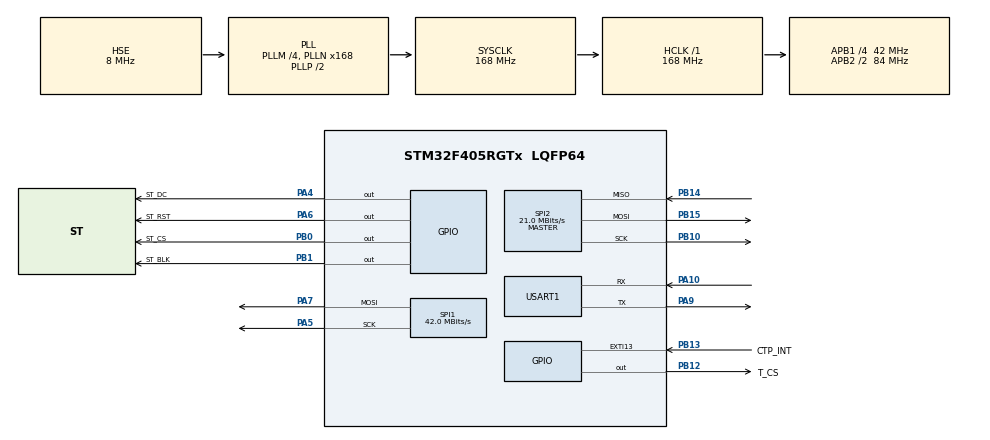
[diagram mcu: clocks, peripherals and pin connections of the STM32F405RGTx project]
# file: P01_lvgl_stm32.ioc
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Dma.Request0=SPI1_TX
Dma.Request1=SPI2_TX
Dma.SPI1_TX.0.Direction=DMA_MEMORY_TO_PERIPH
Dma.SPI1_TX.0.FIFOMode=DMA_FIFOMODE_DISABLE
Dma.SPI1_TX.0.Instance=DMA2_Stream5
Dma.SPI1_TX.0.MemDataAlignment=DMA_MDATAALIGN_HALFWORD
Dma.SPI1_TX.0.MemInc=DMA_MINC_ENABLE
Dma.SPI1_TX.0.Mode=DMA_NORMAL
Dma.SPI1_TX.0.PeriphDataAlignment=DMA_PDATAALIGN_HALFWORD
Dma.SPI1_TX.0.PeriphInc=DMA_PINC_DISABLE
Dma.SPI1_TX.0.Priority=DMA_PRIORITY_LOW
Dma.SPI2_TX.1.Direction=DMA_MEMORY_TO_PERIPH
Dma.SPI2_TX.1.FIFOMode=DMA_FIFOMODE_DISABLE
Dma.SPI2_TX.1.Instance=DMA1_Stream4
Dma.SPI2_TX.1.MemDataAlignment=DMA_MDATAALIGN_HALFWORD
Dma.SPI2_TX.1.MemInc=DMA_MINC_ENABLE
Dma.SPI2_TX.1.Mode=DMA_NORMAL
Dma.SPI2_TX.1.PeriphDataAlignment=DMA_PDATAALIGN_HALFWORD
Dma.SPI2_TX.1.PeriphInc=DMA_PINC_DISABLE
Dma.SPI2_TX.1.Priority=DMA_PRIORITY_LOW
Mcu.Family=STM32F4
Mcu.Name=STM32F405RGTx
Mcu.Package=LQFP64
NVIC.DMA1_Stream4_IRQn=true\:0\:0\:false\:false\:true\:false\:true\:true
NVIC.DMA2_Stream5_IRQn=true\:0\:0\:false\:false\:true\:false\:true\:true
NVIC.EXTI15_10_IRQn=true\:5\:0\:true\:false\:true\:true\:true\:true
NVIC.PriorityGroup=NVIC_PRIORITYGROUP_4
NVIC.USART1_IRQn=true\:5\:0\:true\:false\:true\:true\:true\:true
PA10.Mode=Asynchronous
PA10.Signal=USART1_RX
PA13.Mode=Serial_Wire
PA13.Signal=SYS_JTMS-SWDIO
PA14.Mode=Serial_Wire
PA14.Signal=SYS_JTCK-SWCLK
PA4.GPIO_Label=ST_DC
PA4.GPIO_Speed=GPIO_SPEED_FREQ_MEDIUM
PA4.Signal=GPIO_Output
PA5.Mode=TX_Only_Simplex_Unidirect_Master
PA5.Signal=SPI1_SCK
PA6.GPIO_Label=ST_RST
PA6.GPIO_Speed=GPIO_SPEED_FREQ_MEDIUM
PA6.PinState=GPIO_PIN_SET
PA6.Signal=GPIO_Output
PA7.Mode=TX_Only_Simplex_Unidirect_Master
PA7.Signal=SPI1_MOSI
PA9.Mode=Asynchronous
PA9.Signal=USART1_TX
PB0.GPIO_Label=ST_CS
PB0.GPIO_Speed=GPIO_SPEED_FREQ_MEDIUM
PB0.PinState=GPIO_PIN_SET
PB0.Signal=GPIO_Output
PB1.GPIO_Label=ST_BLK
PB1.GPIO_PuPd=GPIO_PULLUP
PB1.GPIO_Speed=GPIO_SPEED_FREQ_MEDIUM
PB1.Signal=GPIO_Output
PB10.Mode=Full_Duplex_Master
PB10.Signal=SPI2_SCK
PB12.GPIO_Label=T_CS
PB12.GPIO_PuPd=GPIO_PULLUP
PB12.Signal=GPIO_Output
PB13.GPIO_Label=CTP_INT
PB13.GPIO_ModeDefaultEXTI=GPIO_MODE_IT_FALLING
PB13.GPIO_PuPd=GPIO_PULLUP
PB13.Signal=GPXTI13
PB14.Mode=Full_Duplex_Master
PB14.Signal=SPI2_MISO
PB15.Mode=Full_Duplex_Master
PB15.Signal=SPI2_MOSI
PC14-OSC32_IN.Mode=LSE-External-Oscillator
PC14-OSC32_IN.Signal=RCC_OSC32_IN
PC15-OSC32_OUT.Mode=LSE-External-Oscillator
PC15-OSC32_OUT.Signal=RCC_OSC32_OUT
PH0-OSC_IN.Mode=HSE-External-Oscillator
PH0-OSC_IN.Signal=RCC_OSC_IN
PH1-OSC_OUT.Mode=HSE-External-Oscillator
PH1-OSC_OUT.Signal=RCC_OSC_OUT
ProjectManager.HeapSize=0x4000
ProjectManager.StackSize=0x2000
ProjectManager.TargetToolchain=MDK-ARM V5.32
RCC.48MHZClocksFreq_Value=84000000
RCC.AHBFreq_Value=168000000
RCC.APB1CLKDivider=RCC_HCLK_DIV4
RCC.APB1Freq_Value=42000000
RCC.APB1TimFreq_Value=84000000
RCC.APB2CLKDivider=RCC_HCLK_DIV2
RCC.APB2Freq_Value=84000000
RCC.APB2TimFreq_Value=168000000
RCC.CortexFreq_Value=168000000
RCC.HCLKFreq_Value=168000000
RCC.HSE_VALUE=8000000
RCC.HSI_VALUE=16000000
RCC.PLLM=4
RCC.PLLN=168
RCC.PLLSourceVirtual=RCC_PLLSOURCE_HSE
RCC.SYSCLKFreq_VALUE=168000000
RCC.SYSCLKSource=RCC_SYSCLKSOURCE_PLLCLK
RCC.VCOOutputFreq_Value=336000000
SPI1.CalculateBaudRate=42.0 MBits/s
SPI1.Direction=SPI_DIRECTION_2LINES
SPI1.Mode=SPI_MODE_MASTER
SPI1.VirtualType=VM_MASTER
SPI2.CalculateBaudRate=21.0 MBits/s
SPI2.Direction=SPI_DIRECTION_2LINES
SPI2.Mode=SPI_MODE_MASTER
SPI2.VirtualType=VM_MASTER
USART1.VirtualMode=VM_ASYNC
board=custom

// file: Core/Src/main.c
/* USER CODE BEGIN Header */
/**
 ******************************************************************************
 * @file           : main.c
 * @brief          : Main program body
 ******************************************************************************
 * @attention
 *
 * Copyright (c) 2026 STMicroelectronics.
 * All rights reserved.
 *
 * This software is licensed under terms that can be found in the LICENSE file
 * in the root directory of this software component.
 * If no LICENSE file comes with this software, it is provided AS-IS.
 *
 ******************************************************************************
 */
/* USER CODE END Header */
#include "main.h"
#include "dma.h"
#include "spi.h"
#include "usart.h"
#include "gpio.h"

/* USER CODE BEGIN Includes */
#include "lvgl.h"
#include "lv_port_indev.h"
#include "lv_port_lcd_stm32.h"
#include "demos/lv_demos.h"
#include "game_ui.h"
#include "game_logic.h"
#include <stdlib.h>
/* USER CODE END Includes */

void SystemClock_Config(void);

int main(void)
{

  /* MCU Configuration--------------------------------------------------------*/

  /* Reset of all peripherals, Initializes the Flash interface and the Systick. */
  HAL_Init();

  /* Configure the system clock */
  SystemClock_Config();

  /* Initialize all configured peripherals */
  MX_GPIO_Init();
  MX_DMA_Init();
  MX_SPI1_Init();
  MX_USART1_UART_Init();
  MX_SPI2_Init();
  /* USER CODE BEGIN 2 */
  printf("hello world\r\n");
  printf("Starting LVGL initialization...\r\n");

  // 1. 初始化LVGL
  lv_init();
  printf("LVGL initialized\r\n");

  // 2. 设置时钟
  lv_tick_set_cb(HAL_GetTick);
  lv_delay_set_cb(HAL_Delay);
  printf("Tick and delay callbacks set\r\n");

  // 3. 初始化显示
  printf("Initializing display...\r\n");
  lv_port_disp_init();
  printf("Display initialized\r\n");

  // 4. 初始化输入设备
  lv_port_indev_init();
  printf("Input device initialized\r\n");

  // 诊断：检查编译器 UTF-8 编码
  {
      const char *test = "准备";
      int i;
      printf("UTF-8 test: ");
      for(i = 0; test[i]; i++) printf("%02x ", (unsigned char)test[i]);
      printf("\r\n");
      printf("  Expected UTF-8: e5 87 86 e5 a4 87\r\n");
      printf("  If GBK instead: d7 bc b1 b8\r\n");
  }

  // 5. 初始化斗地主游戏
  printf("Starting DouDiZhu game...\r\n");
  srand(HAL_GetTick());
  game_ui_init();
  game_logic_init();
  game_logic_start_new_game();
  printf("Game started\r\n");
  /* USER CODE END 2 */

  /* Infinite loop */
  /* USER CODE BEGIN WHILE */
  while (1)
  {
    uint32_t tick = lv_timer_handler();
    game_logic_update();
    HAL_Delay(tick);
    /* USER CODE END WHILE */

  }
}

void SystemClock_Config(void)
{
  RCC_OscInitTypeDef RCC_OscInitStruct = {0};
  RCC_ClkInitTypeDef RCC_ClkInitStruct = {0};

  /** Configure the main internal regulator output voltage
  */
  __HAL_RCC_PWR_CLK_ENABLE();
  __HAL_PWR_VOLTAGESCALING_CONFIG(PWR_REGULATOR_VOLTAGE_SCALE1);

  /** Initializes the RCC Oscillators according to the specified parameters
  * in the RCC_OscInitTypeDef structure.
  */
  RCC_OscInitStruct.OscillatorType = RCC_OSCILLATORTYPE_HSE;
  RCC_OscInitStruct.HSEState = RCC_HSE_ON;
  RCC_OscInitStruct.PLL.PLLState = RCC_PLL_ON;
  RCC_OscInitStruct.PLL.PLLSource = RCC_PLLSOURCE_HSE;
  RCC_OscInitStruct.PLL.PLLM = 4;
  RCC_OscInitStruct.PLL.PLLN = 168;
  RCC_OscInitStruct.PLL.PLLP = RCC_PLLP_DIV2;
  RCC_OscInitStruct.PLL.PLLQ = 4;
  if (HAL_RCC_OscConfig(&RCC_OscInitStruct) != HAL_OK)
  {
    Error_Handler();
  }

  /** Initializes the CPU, AHB and APB buses clocks
  */
  RCC_ClkInitStruct.ClockType = RCC_CLOCKTYPE_HCLK|RCC_CLOCKTYPE_SYSCLK
                              |RCC_CLOCKTYPE_PCLK1|RCC_CLOCKTYPE_PCLK2;
  RCC_ClkInitStruct.SYSCLKSource = RCC_SYSCLKSOURCE_PLLCLK;
  RCC_ClkInitStruct.AHBCLKDivider = RCC_SYSCLK_DIV1;
  RCC_ClkInitStruct.APB1CLKDivider = RCC_HCLK_DIV4;
  RCC_ClkInitStruct.APB2CLKDivider = RCC_HCLK_DIV2;

  if (HAL_RCC_ClockConfig(&RCC_ClkInitStruct, FLASH_LATENCY_5) != HAL_OK)
  {
    Error_Handler();
  }
}

void Error_Handler(void)
{
  __disable_irq();
  while (1)
  {
  }
}
